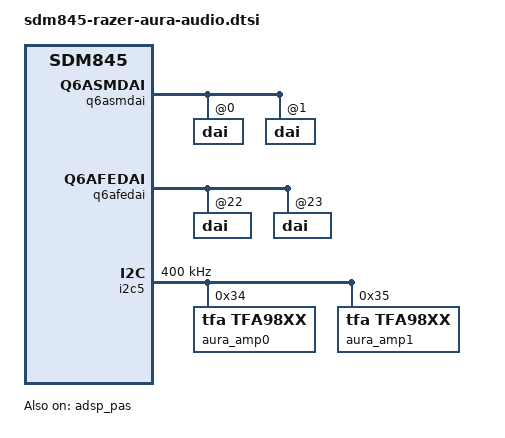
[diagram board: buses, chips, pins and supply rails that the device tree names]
// SPDX-License-Identifier: GPL-2.0
/* Razer RC2 routing and voltages from the captured stock device tree. */
#include <dt-bindings/sound/qcom,q6afe.h>
#include <dt-bindings/sound/qcom,q6asm.h>
#include "sdm845-wcd9340.dtsi"

&adsp_pas {
	status = "okay";
	firmware-name = "qcom/sdm845/razer/aura/adsp.mdt";
};

&q6asmdai {
	dai@0 { reg = <MSM_FRONTEND_DAI_MULTIMEDIA1>; };
	dai@1 { reg = <MSM_FRONTEND_DAI_MULTIMEDIA2>; };
};
&q6afedai {
	dai@22 { reg = <QUATERNARY_MI2S_RX>; qcom,sd-lines = <1>; };
	dai@23 { reg = <QUATERNARY_MI2S_TX>; qcom,sd-lines = <0>; };
};

&wcd9340 {
	reset-gpios = <&tlmm 64 GPIO_ACTIVE_HIGH>;
	vdd-buck-supply = <&vreg_s4a>;
	vdd-buck-sido-supply = <&vreg_s4a>;
	vdd-tx-supply = <&vreg_s4a>;
	vdd-rx-supply = <&vreg_s4a>;
	vdd-io-supply = <&vreg_s4a>;
};

&i2c5 {
	status = "okay";
	clock-frequency = <400000>;
	aura_amp0: amplifier@34 {
		compatible = "tfa,tfa98xx";
		reg = <0x34>;
		#sound-dai-cells = <1>;
	};
	aura_amp1: amplifier@35 {
		compatible = "tfa,tfa98xx";
		reg = <0x35>;
		#sound-dai-cells = <1>;
	};
};

&sound {
	compatible = "qcom,sdm845-sndcard";
	model = "Razer Phone 2";
	status = "okay";
	pinctrl-names = "default";
	pinctrl-0 = <&quat_mi2s_active &quat_mi2s_sd0_active &quat_mi2s_sd1_active>;
	audio-routing = "RX_BIAS", "MCLK", "DMIC1", "MIC BIAS1",
			"DMIC3", "MIC BIAS3", "DMIC5", "MIC BIAS4";

	mm1-dai-link {
		link-name = "MultiMedia1";
		cpu { sound-dai = <&q6asmdai MSM_FRONTEND_DAI_MULTIMEDIA1>; };
	};
	mm2-dai-link {
		link-name = "MultiMedia2";
		cpu { sound-dai = <&q6asmdai MSM_FRONTEND_DAI_MULTIMEDIA2>; };
	};
	speaker-dai-link {
		link-name = "Speaker Playback";
		cpu { sound-dai = <&q6afedai QUATERNARY_MI2S_RX>; };
		platform { sound-dai = <&q6routing>; };
		codec { sound-dai = <&aura_amp0 0>, <&aura_amp1 0>; };
	};
	slimcap-dai-link {
		link-name = "SLIM Capture 1";
		cpu { sound-dai = <&q6afedai SLIMBUS_0_TX>; };
		platform { sound-dai = <&q6routing>; };
		codec { sound-dai = <&wcd9340 1>; };
	};
};
